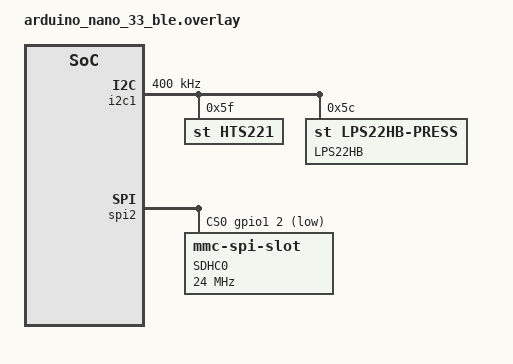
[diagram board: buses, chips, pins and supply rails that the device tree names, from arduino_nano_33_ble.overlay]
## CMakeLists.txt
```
set(CMAKE_CXX_STANDARD 11)
set(BOARD_ROOT "${CMAKE_CURRENT_SOURCE_DIR}")
set(BOARD "arduino_nano_33_ble")
cmake_minimum_required(VERSION 3.13.1)
find_package(Zephyr REQUIRED HINTS $ENV{ZEPHYR_BASE})
project(air_experimental_zephyr C)

target_sources(app PRIVATE src/main.c src/threads.h src/threads.c
        src/altimeter_sensor.c src/altimeter_sensor.h src/sensor_float.h src/telemetry.c src/telemetry.h)
target_link_libraries(app PUBLIC arduino_nano_33_ble)
```

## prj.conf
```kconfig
CONFIG_NEWLIB_LIBC=y
CONFIG_NEWLIB_LIBC_FLOAT_PRINTF=y

# enable peripherals
CONFIG_GPIO=y
CONFIG_USB=y
CONFIG_SERIAL=y
CONFIG_I2C=y
CONFIG_SPI=y

# enable fun debugging stuff
CONFIG_CONSOLE=y
CONFIG_STDOUT_CONSOLE=y
CONFIG_LOG=y
CONFIG_UART_INTERRUPT_DRIVEN=y
CONFIG_UART_LINE_CTRL=y
CONFIG_USB_UART_CONSOLE=y
CONFIG_PRINTK=y

# usb stuff
CONFIG_USB_DEVICE_PRODUCT="UCLA Rocket Project Air 2020"
CONFIG_USB_DRIVER_LOG_LEVEL_ERR=y
CONFIG_USB_CDC_ACM=y
CONFIG_USB_DEVICE_LOG_LEVEL_ERR=y
CONFIG_UART_CONSOLE_ON_DEV_NAME="CDC_ACM_0"
# I literally just mashed keys to get these IDs. We should replace them
CONFIG_USB_DEVICE_PID=0x100
CONFIG_USB_DEVICE_VID=0xff12

# sensors
CONFIG_SENSOR=y
CONFIG_HTS221=y
CONFIG_LPS22HB=y
```

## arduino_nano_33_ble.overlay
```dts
&i2c1 {
    clock-frequency = <I2C_BITRATE_FAST>;
    hts221@5f {
        compatible = "st,hts221";
        label = "HTS221";
        reg = <0x5f>;
    };
    lps22hb-press@5c {
        compatible = "st,lps22hb-press";
        label = "LPS22HB";
        reg = <0x5c>;
    };
};

&spi2 {
    cs-gpios = <&gpio1 2 GPIO_ACTIVE_LOW>;
    sdhc0: sdhc@0 {
        compatible = "zephyr,mmc-spi-slot";
        reg = <0>;
        label = "SDHC0";
        spi-max-frequency = <24000000>;
    };
};
```

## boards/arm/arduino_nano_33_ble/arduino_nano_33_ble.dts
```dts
/*
 * Copyright (c) 2020 Jefferson Lee
 *
 * SPDX-License-Identifier: Apache-2.0
 */
/dts-v1/;
#include <nordic/nrf52840_qiaa.dtsi>

/ {
    model = "Arduino Nano 33 BLE (Sense)";
    compatible = "arduino,arduino_nano_33_ble";

    chosen {
		zephyr,console = &uart0;
		zephyr,shell-uart = &uart0;
		zephyr,uart-mcumgr = &uart0;
		zephyr,bt-mon-uart = &uart0;
		zephyr,bt-c2h-uart = &uart0;
		zephyr,sram = &sram0;
		zephyr,flash = &flash0;
		zephyr,code-partition = &code_partition;
	};

	leds {
		compatible = "gpio-leds";
		led0: led_0 {
			gpios = <&gpio0 24 0>;
			label = "Red LED";
		};
	};

	/* These aliases are provided for compatibility with samples */
	aliases {
		led0 = &led0;
		spi = &spi2;
	};
};

&flash0 {
	/*
	 * For more information, see:
	 * https://docs.zephyrproject.org/latest/guides/dts/legacy-macros.html#legacy-flash-partitions
	 * these bindings are irrelevant. See the LD script
	 */
	partitions {
		compatible = "fixed-partitions";
		#address-cells = <1>;
		#size-cells = <1>;

		code_partition: partition@10000 {
			label = "code";
			reg = <0x10000 0x1000>;
			read-only;
		};
	};
};

/*
 * guide specifying pin numbers: https://docs.zephyrproject.org/latest/boards/arm/nrf52840dk_nrf52840/doc/index.html
 * Given Pin PB.A:
 * pin_no = B*32 + A
 * ex. P1.0 => 32
*/
&adc {
	status = "okay";
};
&uart0 {
	compatible = "nordic,nrf-uart";
	current-speed = <115200>;
	status = "okay";
	tx-pin = <35>; //P1.03
	rx-pin = <42>; //P1.10
};
&i2c0 {
	compatible = "nordic,nrf-twim";
	status = "okay";
	sda-pin = <31>; //P0.31
	scl-pin = <2>; //P0.02
};
&i2c1 {
	compatible = "nordic,nrf-twim";
	status = "okay";
	sda-pin = <14>; //P0.14
	scl-pin = <15>; //P0.15
};
// we use SPI2 because SPI1/0 shares conflicts with I2C1/0
&spi2 {
	compatible = "nordic,nrf-spim";
	status = "okay";
	sck-pin = <13>; //P0.13
	mosi-pin = <33>; //P1.01
	miso-pin = <40>; //P1.08
};
&gpio0 {
	status = "okay";
};
&gpio1 {
	status = "okay";
};
&usbd {
	compatible = "nordic,nrf-usbd";
	status = "okay";
};
// All PWM's should be enaled
&pwm0 {
	status = "okay";
};
&pwm1 {
	status = "okay";
};
&pwm2 {
	status = "okay";
};
&pwm3 {
	status = "okay";
};
/*
 * NOTE: curiously, there is no PDM (microphone) interface in the
 * nordic DTSI file.
 * You'll need to use the nordic-specific PDM libraries.
 */

/*
 * the following sets up the peripherals according to this file:
 * https://github.com/arduino/ArduinoCore-nRF528x-mbedos/blob/19ddd214d255ca20b233eefa76662b360595c146/variants/ARDUINO_NANO33BLE/variant.cpp#L136
 * The bootloader will conflict with RTC1
 */
&rtc1 {
	status = "disabled";
};
```

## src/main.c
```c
#include <device.h>
#include <logging/log.h>
#include <usb/usb_device.h>
#include <arduino_nano_33_ble.h>
#include <stdbool.h>
#include <arch/arm/aarch32/exc.h>
#include <fatal.h>
#include <drivers/sensor.h>
#include "altimeter_sensor.h"
#include "sensor_float.h"
#include <stdio.h>
LOG_MODULE_REGISTER(main_loop, LOG_LEVEL_DBG);

static struct arduino_gpio_t gpio;

// setup the logging interface spawn worker threads
void main() {
	arduino_gpio_init(&gpio);
	arduino_gpio_pinMode(&gpio, ARDUINO_LEDR, GPIO_OUTPUT);
	arduino_gpio_digitalWrite(&gpio, ARDUINO_LEDR, 1);
	const struct device *dev = device_get_binding("CDC_ACM_0");
	usb_enable(NULL);

	// pull in the sensors
	struct altimeter_sensor altimeter;
	altimeter_sensor_init(&altimeter);

	bool ledOn = false;
	while(1) {
		ledOn = !ledOn;
		arduino_gpio_digitalWrite(&gpio, ARDUINO_LEDR, ledOn);
		altimeter_sensor_update(&altimeter);
		float alt = sensor_val_to_float(&altimeter.altitude);

		printf("Altitude: %f (m)\n", alt);

		k_sleep(K_SECONDS(1));
	}
}
// handler for k_fatal_halt's
void k_sys_fatal_error_handler(unsigned int reason, const z_arch_esf_t *esf) {
	/*
	 * if we're here, theres a good chance everything is broken.
	 * Hopefully, the GPIO driver survived.
	 */
	arduino_gpio_digitalWrite(&gpio, ARDUINO_LEDR, 0);
	while(1) {
		LOG_ERR("Failed: %d\n", reason);
		k_sleep(K_SECONDS(5));
	}
}
```

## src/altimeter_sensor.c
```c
#include "altimeter_sensor.h"
#include <devicetree.h>
#include "sensor_float.h"

#define HTS221 DT_INST(0, st_hts221)
#define HTS221_LABEL DT_LABEL(HTS221)
#define LPS22HB DT_INST(0, st_lps22hb_press)
#define LPS22HB_LABEL DT_LABEL(LPS22HB)

int altimeter_sensor_init(struct altimeter_sensor *sensor) {
	sensor->humid_temp_sensor = device_get_binding(HTS221_LABEL);
	sensor->baro_sensor = device_get_binding(LPS22HB_LABEL);
	if(!sensor->humid_temp_sensor || !sensor->baro_sensor) {
		return -1;
	}
	return 0;
}

int altimeter_sensor_update(struct altimeter_sensor *sensor) {
	int ret;
	ret = sensor_sample_fetch(sensor->humid_temp_sensor);
	if(ret != 0) {
		return ret;
	}
	ret = sensor_sample_fetch(sensor->baro_sensor);
	if(ret != 0) {
		return ret;
	}
	sensor_channel_get(sensor->humid_temp_sensor, SENSOR_CHAN_HUMIDITY, &sensor->humidity);
	sensor_channel_get(sensor->humid_temp_sensor, SENSOR_CHAN_AMBIENT_TEMP, &sensor->temp);
	sensor_channel_get(sensor->baro_sensor, SENSOR_CHAN_PRESS, &sensor->press);

	float alt = altitude_equation(sensor_val_to_float(&sensor->press),
	                              sensor_val_to_float(&sensor->temp),
	                              sensor_val_to_float(&sensor->humidity));
	float_to_sensor_value(alt, &sensor->altitude);
}
```

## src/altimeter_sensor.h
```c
#pragma once

#include <device.h>
#include <drivers/sensor.h>

struct altimeter_sensor {
	const struct device *baro_sensor;
	const struct device *humid_temp_sensor;
	struct sensor_value press, temp, humidity, altitude;
};

int altimeter_sensor_init(struct altimeter_sensor *sensor);
int altimeter_sensor_update(struct altimeter_sensor *sensor);

#include <math.h>

const static float P0 = 101.325f;
// TODO: replace with a function that takes into account air density (humidity)
static inline float altitude_equation(float press, float temp, float humidity) {
	return (float)( (temp + 273.15) * log(P0 / press) );
}
```

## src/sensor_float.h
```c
#pragma once
#include <drivers/sensor.h>
#include <math.h>

static float sensor_val_to_float(struct sensor_value *val) {
	return (float)(val->val1 + val->val2 / 1.00E6);
}
static void float_to_sensor_value(float f, struct sensor_value *val) {
	float intpart, fracpart;
	fracpart = modff(f, &intpart);
	val->val1 = (int32_t)intpart;
	val->val2 = (int32_t)(fracpart * 1e6);
}
```

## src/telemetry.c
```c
#include "telemetry.h"
#include <string.h>

K_MUTEX_DEFINE(telemetryMutex);
volatile float telemetry[__COUNT] = {0};

void telemetry_packetize(uint8_t buf[sizeof(float)*__COUNT+2]) {
	k_mutex_lock(&telemetryMutex, K_FOREVER);
	memcpy(buf+1, telemetry, sizeof(float)*__COUNT);
	k_mutex_unlock(&telemetryMutex);

	// begin COBS encoding
	// last byte is zero
	buf[sizeof(float)*__COUNT+1] = 0;
	uint8_t *zeroPtr = buf;
	for(int i = 1; i < sizeof(float)*__COUNT+2; i++) {
		if(buf[i] != 0) {
			continue;
		}
		*zeroPtr = (buf+i) - zeroPtr;
		zeroPtr = buf+i;
	}
}
```

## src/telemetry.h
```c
#pragma once
#include <stdint.h>
#include <kernel.h>

enum TELEMETRY_FIELD {
	X_ACCEL,
	Y_ACCEL,
	Z_ACCEL,

	X_ROT,
	Y_ROT,
	Z_ROT,

	X_MAG,
	Y_MAG,
	Z_MAG,

	PRESS,
	TEMP,
	HUMIDITY,
	MAX_PRED_ALT,

	__COUNT
};

volatile extern float telemetry[__COUNT];
extern struct k_mutex telemetryMutex;
void telemetry_packetize(uint8_t buf[sizeof(float)*__COUNT+2]);
```

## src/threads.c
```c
#include "threads.h"
```

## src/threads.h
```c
#pragma once

void internal_sensor_thread();
void external_sensor_thread();
void telemetry_thread();
```
